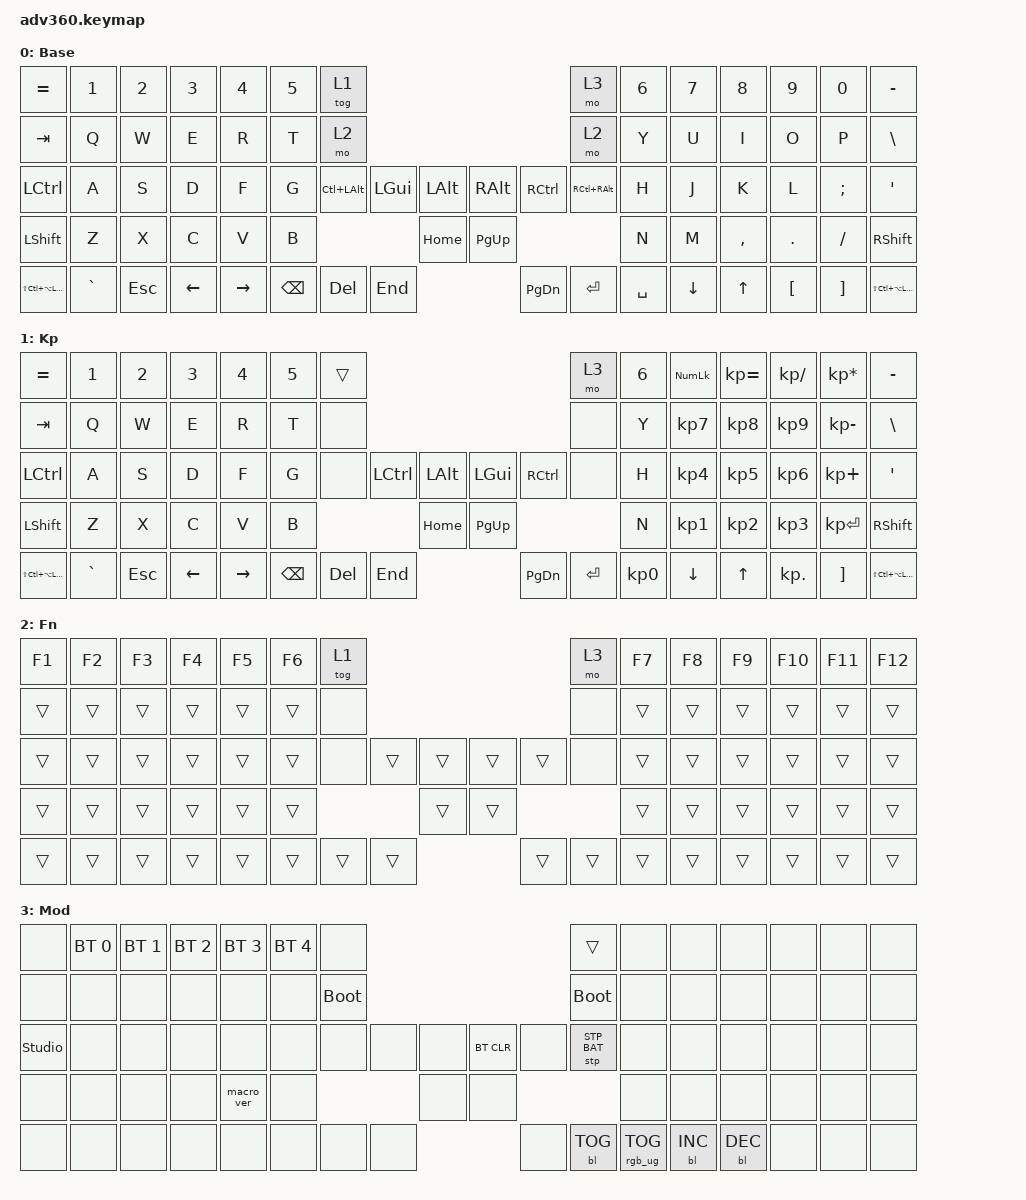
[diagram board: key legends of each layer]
#include <behaviors.dtsi>
#include <dt-bindings/zmk/keys.h>
#include <dt-bindings/zmk/bt.h>
#include <dt-bindings/zmk/rgb.h>
#include <dt-bindings/zmk/stp.h>
#include <dt-bindings/zmk/backlight.h>
#include <dt-bindings/zmk/pointing.h>

// https://zmk.dev/docs/keymaps

#define HYPER LS(LC(LA(LGUI)))

&mt {
    tapping-term-ms = <210>;
    flavor = "tap-preferred";
};

&lt {
    quick_tap_ms = <200>;
};

/ {
    behaviors {
      #include "macros.dtsi"
      #include "version.dtsi"

      hm: homerow_mods {
          compatible = "zmk,behavior-hold-tap";
          label = "HOMEROW_MODS";
          #binding-cells = <2>;
          tapping-term-ms = <200>;
          quick_tap_ms = <175>;
          flavor = "tap-preferred";
          bindings = <&kp>, <&kp>;
      };
    };

  keymap {
    compatible = "zmk,keymap";

    default_layer {
      display-name = "Base";
      bindings = <
        &kp EQUAL &kp N1    &kp N2   &kp N3   &kp N4     &kp N5 &tog 1                                                           &mo 3 &kp N6 &kp N7 &kp N8    &kp N9   &kp N0   &kp MINUS
        &kp TAB   &kp Q     &kp W    &kp E    &kp R      &kp T  &mo 2                                                            &mo 2 &kp Y  &kp U  &kp I     &kp O    &kp P    &kp BSLH
        &kp LCTRL   &kp A     &kp S    &kp D    &kp F      &kp G  &kp LC(LALT)           &kp LGUI &kp LALT &kp RALT  &kp RCTRL           &kp RC(RALT) &kp H  &kp J  &kp K     &kp L    &kp SEMI &kp SQT
        &kp LSHFT &kp Z     &kp X    &kp C    &kp V      &kp B                            &kp HOME &kp PG_UP                           &kp N  &kp M  &kp COMMA &kp DOT  &kp FSLH &kp RSHFT
        &kp HYPER     &kp GRAVE &kp ESC &kp LEFT &kp RIGHT                &kp BSPC &kp DEL   &kp END  &kp PG_DN &kp ENTER &kp SPACE              &kp DOWN &kp UP  &kp LBKT &kp RBKT &kp HYPER
      >;
    };
    keypad {
      display-name = "Kp";
      bindings = <
        &kp EQUAL &kp N1    &kp N2   &kp N3   &kp N4     &kp N5 &trans                                                           &mo 3 &kp N6 &kp KP_NUM &kp KP_EQUAL &kp KP_DIVIDE &kp KP_MULTIPLY &kp MINUS
        &kp TAB   &kp Q     &kp W    &kp E    &kp R      &kp T  &none                                                            &none &kp Y  &kp KP_N7  &kp KP_N8    &kp KP_N9     &kp KP_MINUS    &kp BSLH
        &kp LCTRL   &kp A     &kp S    &kp D    &kp F      &kp G  &none           &kp LCTRL &kp LALT &kp LGUI  &kp RCTRL           &none &kp H  &kp KP_N4  &kp KP_N5    &kp KP_N6     &kp KP_PLUS     &kp SQT
        &kp LSHFT &kp Z     &kp X    &kp C    &kp V      &kp B                            &kp HOME &kp PG_UP                           &kp N  &kp KP_N1  &kp KP_N2    &kp KP_N3     &kp KP_ENTER    &kp RSHFT
        &kp HYPER     &kp GRAVE &kp ESC &kp LEFT &kp RIGHT                &kp BSPC &kp DEL   &kp END  &kp PG_DN &kp ENTER &kp KP_N0              &kp DOWN     &kp UP     &kp KP_DOT    &kp RBKT        &kp HYPER
      >;
    };
    fn {
      display-name = "Fn";
      bindings = <
        &kp F1 &kp F2 &kp F3 &kp F4 &kp F5 &kp F6 &tog 1                                           &mo 3 &kp F7 &kp F8 &kp F9 &kp F10 &kp F11 &kp F12
        &trans &trans &trans &trans &trans &trans  &none                                           &none &trans &trans &trans &trans  &trans  &trans
        &trans &trans &trans &trans &trans &trans  &none        &trans &trans &trans &trans        &none &trans &trans &trans &trans  &trans  &trans
        &trans &trans &trans &trans &trans &trans                      &trans &trans                     &trans &trans &trans &trans  &trans  &trans
        &trans &trans &trans &trans &trans               &trans &trans &trans &trans &trans &trans              &trans &trans &trans  &trans  &trans
      >;
    };
    mod {
      display-name = "Mod";
      bindings = <
        &none &bt BT_SEL 0 &bt BT_SEL 1 &bt BT_SEL 2 &bt BT_SEL 3 &bt BT_SEL 4 &none                                                                     &trans                 &none        &none        &none        &none &none &none
        &none &none        &none        &none        &none        &none        &bootloader                                                               &bootloader            &none        &none        &none        &none &none &none
        &studio_unlock &none        &none        &none        &none        &none        &none                   &none &none &bt BT_CLR &none                      &stp STP_BAT &none        &none        &none        &none &none &none
        &none &none        &none        &none        &macro_ver   &none                                      &none &none                                                        &none        &none        &none        &none &none &none
        &none &none        &none        &none        &none                                       &none &none &none &none      &bl BL_TOG &rgb_ug RGB_TOG                                     &bl BL_INC   &bl BL_DEC   &none &none &none
      >;
    };
    extra1 { 
      display-name = "Red";    
      status = "reserved";
    };

    extra2 { 
      display-name = "Purple";    
      status = "reserved";
    };

    extra3 { 
      display-name = "Cyan";    
      status = "reserved";
    };

    extra4 { 
      display-name = "Yellow";    
      status = "reserved";
    };
  };
};
